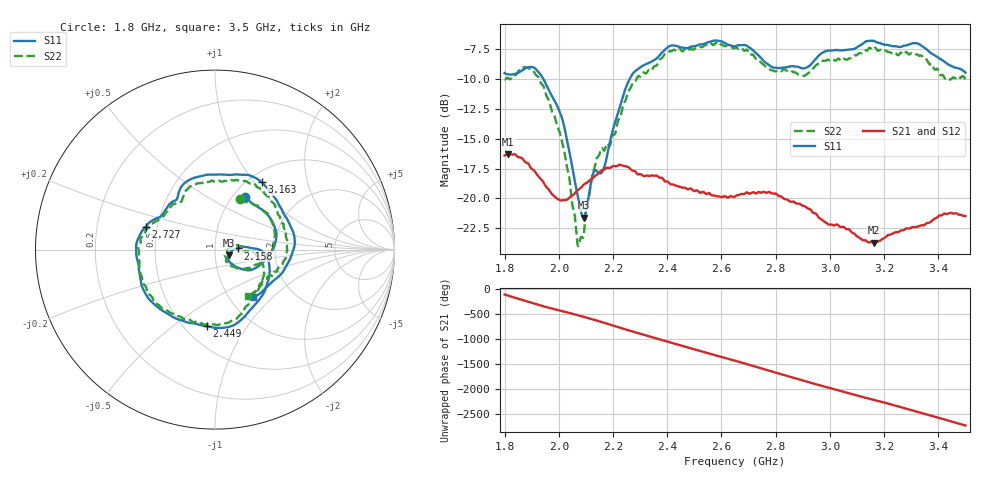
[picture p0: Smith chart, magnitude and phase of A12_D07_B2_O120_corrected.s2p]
! Created with skrf 1.9.0 (http://scikit-rf.org).
# Hz S RI R 50.0
!freq ReS11 ImS11 ReS21 ImS21 ReS12 ImS12 ReS22 ImS22
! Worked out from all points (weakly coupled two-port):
!   1601 points, 1.8 GHz to 3.5 GHz, reference 50 ohm
!   highest |S21| = -16.29 dB at 1.813 GHz (marker M1); lowest = -23.7 dB at 3.162 GHz (marker M2)
!   lowest |S11| = -21.6 dB at 2.091 GHz (marker M3), VSWR 1.18, Z = 58.2 - j3.64 ohm
!   |S11| at or under -10 dB: 1.944 GHz to 2.261 GHz (317.5 MHz wide, 15.1 % of centre)
!   |S22| runs from -24.0 to -6.9 dB; largest |S21 - S12| = 0.0029
!   S11 on the Smith chart (normalised r, x): 1.8 GHz: 1.13, +0.75; 2.158 GHz: 1.29, +0.02; 2.449 GHz: 0.64, -0.67; 2.727 GHz: 0.43, +0.13; 3.163 GHz: 1.15, +1.09; 3.5 GHz: 1.28, -0.76
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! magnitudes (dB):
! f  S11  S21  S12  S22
! 1.8 GHz  -9.5  -16.4  -16.4  -10.0
! 1.813 GHz  -9.6  -16.3  -16.3  -9.9
! 1.881 GHz  -9.0  -17.0  -17.0  -9.0
! 1.942 GHz  -10.0  -18.6  -18.6  -10.6
! 2.014 GHz  -13.4  -20.2  -20.2  -15.4
! 2.069 GHz  -19.7  -19.3  -19.4  -23.8
! 2.084 GHz  -21.3  -19.1  -19.0  -23.3
! 2.091 GHz  -21.6  -18.9  -18.9  -23.2
! 2.128 GHz  -17.8  -18.2  -18.2  -17.7
! 2.158 GHz  -17.9  -17.7  -17.6  -15.8
! 2.26 GHz  -10.0  -17.4  -17.5  -10.9
! 2.367 GHz  -8.1  -18.2  -18.1  -8.5
! 2.449 GHz  -7.3  -19.1  -19.1  -7.5
! 2.65 GHz  -7.2  -19.8  -19.8  -7.4
! 2.727 GHz  -7.8  -19.6  -19.6  -8.3
! 2.796 GHz  -9.0  -19.6  -19.6  -9.3
! 2.934 GHz  -8.7  -21.1  -21.1  -9.2
! 3.162 GHz  -6.8  -23.7  -23.7  -7.4
! 3.163 GHz  -6.8  -23.7  -23.7  -7.4
! 3.217 GHz  -7.2  -23.1  -23.1  -7.7
! 3.326 GHz  -7.0  -22.4  -22.3  -8.0
! 3.5 GHz  -9.4  -21.5  -21.5  -10.0
